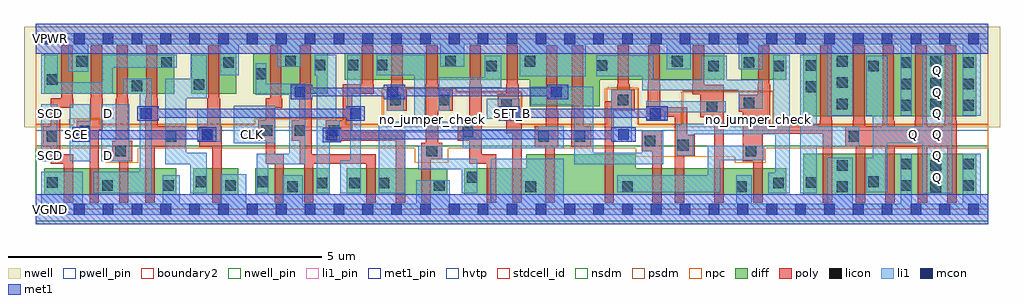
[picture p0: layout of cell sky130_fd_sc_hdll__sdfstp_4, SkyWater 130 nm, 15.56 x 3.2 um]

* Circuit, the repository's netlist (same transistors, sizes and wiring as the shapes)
* Copyright 2020 The SkyWater PDK Authors
*
* Licensed under the Apache License, Version 2.0 (the "License");
* you may not use this file except in compliance with the License.
* You may obtain a copy of the License at
*
*     https://www.apache.org/licenses/LICENSE-2.0
*
* Unless required by applicable law or agreed to in writing, software
* distributed under the License is distributed on an "AS IS" BASIS,
* WITHOUT WARRANTIES OR CONDITIONS OF ANY KIND, either express or implied.
* See the License for the specific language governing permissions and
* limitations under the License.
*
* SPDX-License-Identifier: Apache-2.0

.SUBCKT sky130_fd_sc_hdll__sdfstp_4 CLK D SCD SCE SET_B VGND VNB VPB VPWR Q
*.PININFO CLK:I D:I SCD:I SCE:I SET_B:I VGND:I VNB:I VPB:I VPWR:I Q:O
MI645 sceb SCE VPWR VPB sky130_fd_pr__pfet_01v8_hvt m=1 w=0.64U l=0.18U mult=1
+ sa=0.265 sb=0.265 sd=0.28 area=0.063 perim=1.14
MI658 M1 M0 VPWR VPB sky130_fd_pr__pfet_01v8_hvt m=1 w=0.42U l=0.18U mult=1 sa=0.265
+ sb=0.265 sd=0.28 area=0.063 perim=1.14
MI47 clkpos clkneg VPWR VPB sky130_fd_pr__pfet_01v8_hvt m=1 w=0.64U l=0.18U mult=1
+ sa=0.265 sb=0.265 sd=0.28 area=0.063 perim=1.14
MI663 net165 S0 VPWR VPB sky130_fd_pr__pfet_01v8_hvt m=1 w=1.0U l=0.18U mult=1
+ sa=0.265 sb=0.265 sd=0.28 area=0.063 perim=1.14
MI660 Q net165 VPWR VPB sky130_fd_pr__pfet_01v8_hvt m=4 w=1.0U l=0.18U mult=1 sa=0.265
+ sb=0.265 sd=0.28 area=0.063 perim=1.14
MI659 M1 SET_B VPWR VPB sky130_fd_pr__pfet_01v8_hvt m=1 w=0.42U l=0.18U mult=1
+ sa=0.265 sb=0.265 sd=0.28 area=0.063 perim=1.14
MI662 net109 M1 VPWR VPB sky130_fd_pr__pfet_01v8_hvt m=1 w=0.42U l=0.18U mult=1
+ sa=0.265 sb=0.265 sd=0.28 area=0.063 perim=1.14
MI664 M0 clkneg net109 VPB sky130_fd_pr__pfet_01v8_hvt m=1 w=0.42U l=0.18U mult=1
+ sa=0.265 sb=0.265 sd=0.28 area=0.063 perim=1.14
MI6 net96 S1 VPWR VPB sky130_fd_pr__pfet_01v8_hvt m=1 w=0.42U l=0.18U mult=1 sa=0.265
+ sb=0.265 sd=0.28 area=0.063 perim=1.14
MI669 S0 clkpos net96 VPB sky130_fd_pr__pfet_01v8_hvt m=1 w=0.42U l=0.18U mult=1
+ sa=0.265 sb=0.265 sd=0.28 area=0.063 perim=1.14
MI24 S0 SET_B VPWR VPB sky130_fd_pr__pfet_01v8_hvt m=1 w=0.42U l=0.18U mult=1 sa=0.265
+ sb=0.265 sd=0.28 area=0.063 perim=1.14
MI648 S1 S0 VPWR VPB sky130_fd_pr__pfet_01v8_hvt m=1 w=0.42U l=0.18U mult=1 sa=0.265
+ sb=0.265 sd=0.28 area=0.063 perim=1.14
MI38 S0 clkneg net84 VPB sky130_fd_pr__pfet_01v8_hvt m=1 w=0.84U l=0.18U mult=1
+ sa=0.265 sb=0.265 sd=0.28 area=0.063 perim=1.14
MI37 net84 M0 VPWR VPB sky130_fd_pr__pfet_01v8_hvt m=1 w=0.84U l=0.18U mult=1 sa=0.265
+ sb=0.265 sd=0.28 area=0.063 perim=1.14
MI43 db clkpos M0 VPB sky130_fd_pr__pfet_01v8_hvt m=1 w=0.42U l=0.18U mult=1 sa=0.265
+ sb=0.265 sd=0.28 area=0.063 perim=1.14
MI45 clkneg CLK VPWR VPB sky130_fd_pr__pfet_01v8_hvt m=1 w=0.64U l=0.18U mult=1
+ sa=0.265 sb=0.265 sd=0.28 area=0.063 perim=1.14
MI101 db sceb p1 VPB sky130_fd_pr__pfet_01v8_hvt m=1 w=0.64U l=0.18U mult=1 sa=0.265
+ sb=0.265 sd=0.28 area=0.063 perim=1.14
MI107 p0 SCE VPWR VPB sky130_fd_pr__pfet_01v8_hvt m=1 w=0.64U l=0.18U mult=1 sa=0.265
+ sb=0.265 sd=0.28 area=0.063 perim=1.14
MI94 db D p0 VPB sky130_fd_pr__pfet_01v8_hvt m=1 w=0.64U l=0.18U mult=1 sa=0.265
+ sb=0.265 sd=0.28 area=0.063 perim=1.14
MI108 p1 SCD VPWR VPB sky130_fd_pr__pfet_01v8_hvt m=1 w=0.64U l=0.18U mult=1 sa=0.265
+ sb=0.265 sd=0.28 area=0.063 perim=1.14
MI34 S0 clkpos net189 VNB sky130_fd_pr__nfet_01v8 m=1 w=0.64U l=0.15U mult=1 sa=0.265
+ sb=0.265 sd=0.28 area=0.063 perim=1.14
MI27 net209 S1 net157 VNB sky130_fd_pr__nfet_01v8 m=1 w=0.42U l=0.15U mult=1 sa=0.265
+ sb=0.265 sd=0.28 area=0.063 perim=1.14
MI647 S1 S0 VGND VNB sky130_fd_pr__nfet_01v8 m=1 w=0.42U l=0.15U mult=1 sa=0.265
+ sb=0.265 sd=0.28 area=0.063 perim=1.14
MI655 M0 clkpos net200 VNB sky130_fd_pr__nfet_01v8 m=1 w=0.42U l=0.15U mult=1 sa=0.265
+ sb=0.265 sd=0.28 area=0.063 perim=1.14
MI656 M1 M0 net196 VNB sky130_fd_pr__nfet_01v8 m=1 w=0.42U l=0.15U mult=1 sa=0.265
+ sb=0.265 sd=0.28 area=0.063 perim=1.14
MI654 net200 M1 VGND VNB sky130_fd_pr__nfet_01v8 m=1 w=0.42U l=0.15U mult=1 sa=0.265
+ sb=0.265 sd=0.28 area=0.063 perim=1.14
MI36 net189 M0 VGND VNB sky130_fd_pr__nfet_01v8 m=1 w=0.64U l=0.15U mult=1 sa=0.265
+ sb=0.265 sd=0.28 area=0.063 perim=1.14
MI26 S0 clkneg net209 VNB sky130_fd_pr__nfet_01v8 m=1 w=0.42U l=0.15U mult=1 sa=0.265
+ sb=0.265 sd=0.28 area=0.063 perim=1.14
MI42 db clkneg M0 VNB sky130_fd_pr__nfet_01v8 m=1 w=0.42U l=0.15U mult=1 sa=0.265
+ sb=0.265 sd=0.28 area=0.063 perim=1.14
MI46 clkpos clkneg VGND VNB sky130_fd_pr__nfet_01v8 m=1 w=0.42U l=0.15U mult=1
+ sa=0.265 sb=0.265 sd=0.28 area=0.063 perim=1.14
MI44 clkneg CLK VGND VNB sky130_fd_pr__nfet_01v8 m=1 w=0.42U l=0.15U mult=1 sa=0.265
+ sb=0.265 sd=0.28 area=0.063 perim=1.14
MI657 net196 SET_B VGND VNB sky130_fd_pr__nfet_01v8 m=1 w=0.42U l=0.15U mult=1
+ sa=0.265 sb=0.265 sd=0.28 area=0.063 perim=1.14
MI652 net165 S0 VGND VNB sky130_fd_pr__nfet_01v8 m=1 w=0.65U l=0.15U mult=1 sa=0.265
+ sb=0.265 sd=0.28 area=0.063 perim=1.14
MI644 sceb SCE VGND VNB sky130_fd_pr__nfet_01v8 m=1 w=0.42U l=0.15U mult=1 sa=0.265
+ sb=0.265 sd=0.28 area=0.063 perim=1.14
MI25 net157 SET_B VGND VNB sky130_fd_pr__nfet_01v8 m=1 w=0.42U l=0.15U mult=1 sa=0.265
+ sb=0.265 sd=0.28 area=0.063 perim=1.14
MI653 Q net165 VGND VNB sky130_fd_pr__nfet_01v8 m=4 w=0.65U l=0.15U mult=1 sa=0.265
+ sb=0.265 sd=0.28 area=0.063 perim=1.14
MI98 db D n0 VNB sky130_fd_pr__nfet_01v8 m=1 w=0.42U l=0.15U mult=1 sa=0.265 sb=0.265
+ sd=0.28 area=0.525 perim=3.1
MI103 n1 SCD VGND VNB sky130_fd_pr__nfet_01v8 m=1 w=0.42U l=0.15U mult=1 sa=0.265
+ sb=0.265 sd=0.28 area=0.525 perim=3.1
MI120 db SCE n1 VNB sky130_fd_pr__nfet_01v8 m=1 w=0.42U l=0.15U mult=1 sa=0.265
+ sb=0.265 sd=0.28 area=0.525 perim=3.1
MI104 n0 sceb VGND VNB sky130_fd_pr__nfet_01v8 m=1 w=0.42U l=0.15U mult=1 sa=0.265
+ sb=0.265 sd=0.28 area=0.525 perim=3.1
.ENDS sky130_fd_sc_hdll__sdfstp_4

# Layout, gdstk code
import gdstk
lib = gdstk.Library(unit=1e-6, precision=1e-09)
def R(c, l, rs):  # rectangles x0, y0, x1, y1
    for r in rs: c.add(gdstk.rectangle(r[:2], r[2:], *l))
def A(c, l, x, y, w, h, nx, ny, dx, dy):  # array of equal rectangles
    R(c, l, [(x+i*dx, y+j*dy, x+i*dx+w, y+j*dy+h) for i in range(nx) for j in range(ny)])
def P(c, l, *ps):  # polygons
    for p in ps: c.add(gdstk.Polygon(p, *l))
nwell_pin = (64, 16)
nwell = (64, 20)
diff = (65, 20)
poly = (66, 20)
licon = (66, 44)
li1_pin = (67, 16)
li1 = (67, 20)
mcon = (67, 44)
met1_pin = (68, 16)
met1 = (68, 20)
hvtp = (78, 44)
stdcell_id = (81, 4)
nsdm = (93, 44)
psdm = (94, 20)
npc = (95, 20)
pwell_pin = (122, 16)
boundary2 = (236, 0)

sky130_fd_sc_hdll__sdfst = lib.new_cell('sky130_fd_sc_hdll__sdfstp_4')
R(sky130_fd_sc_hdll__sdfst, nwell_pin, [(0.145,2.635,0.315,2.805)])
R(sky130_fd_sc_hdll__sdfst, nwell, [(-0.19,1.305,15.37,2.91)])
R(sky130_fd_sc_hdll__sdfst, diff, [(0.135,0.235,2.235,0.655), (2.505,0.235,3.225,0.655), (3.495,0.235,4.685,0.655), (4.955,0.235,6.555,0.655), (12.235,0.235,14.99,0.885), (12.235,1.485,14.99,2.485), (0.135,1.845,2.205,2.485), (2.475,1.845,3.195,2.485), (3.465,1.845,4.655,2.485), (11.245,2.065,11.965,2.485)])
P(sky130_fd_sc_hdll__sdfst, diff, [(11.965,0.655),(9.565,0.655),(9.565,0.875),(7.82,0.875),(7.82,0.655),(6.825,0.655),(6.825,0.235),(11.965,0.235)],
  [(10.975,2.485),(4.925,2.485),(4.925,2.065),(7.875,2.065),(7.875,1.645),(8.985,1.645),(8.985,2.065),(10.975,2.065)])
P(sky130_fd_sc_hdll__sdfst, poly, [(0.595,1.77),(0.585,1.77),(0.585,2.615),(0.405,2.615),(0.405,1.77),(0.24,1.77),(0.24,1.325),(0.105,1.325),(0.105,0.995),(0.24,0.995),(0.24,0.73),(0.445,0.73),(0.445,0.105),(0.595,0.105),(0.595,0.88),(0.39,0.88),(0.39,1.62),(0.595,1.62)],
  [(1.065,1.77),(1.055,1.77),(1.055,2.615),(0.875,2.615),(0.875,1.77),(0.865,1.77),(0.865,1.415),(0.65,1.415),(0.65,1.085),(0.855,1.085),(0.855,0.105),(1.005,0.105),(1.005,1.265),(1.065,1.265)],
  [(1.535,1.095),(1.475,1.095),(1.475,1.77),(1.465,1.77),(1.465,2.615),(1.285,2.615),(1.285,1.77),(1.275,1.77),(1.275,1.095),(1.215,1.095),(1.215,0.765),(1.325,0.765),(1.325,0.105),(1.475,0.105),(1.475,0.765),(1.535,0.765)],
  [(2.39,1.325),(1.945,1.325),(1.945,1.77),(1.935,1.77),(1.935,2.615),(1.755,2.615),(1.755,1.77),(1.745,1.77),(1.745,0.105),(1.895,0.105),(1.895,0.995),(2.39,0.995)],
  [(2.965,1.325),(2.935,1.325),(2.935,1.77),(2.925,1.77),(2.925,2.615),(2.745,2.615),(2.745,1.77),(2.735,1.77),(2.735,1.325),(2.6,1.325),(2.6,0.995),(2.815,0.995),(2.815,0.105),(2.965,0.105)],
  [(3.955,0.88),(3.815,0.88),(3.815,1.62),(3.925,1.62),(3.925,1.77),(3.915,1.77),(3.915,2.615),(3.735,2.615),(3.735,1.77),(3.665,1.77),(3.665,1.42),(3.545,1.42),(3.545,1.09),(3.665,1.09),(3.665,0.73),(3.805,0.73),(3.805,0.105),(3.955,0.105)],
  [(5.415,0.88),(4.395,0.88),(4.395,1.77),(4.385,1.77),(4.385,2.615),(4.205,2.615),(4.205,1.77),(4.195,1.77),(4.195,1.42),(4.075,1.42),(4.075,1.09),(4.21,1.09),(4.21,0.73),(4.275,0.73),(4.275,0.105),(4.425,0.105),(4.425,0.73),(5.265,0.73),(5.265,0.105),(5.415,0.105)],
  [(5.885,1.24),(5.04,1.24),(5.04,1.84),(5.385,1.84),(5.385,1.99),(5.375,1.99),(5.375,2.615),(5.195,2.615),(5.195,1.99),(4.89,1.99),(4.89,1.42),(4.62,1.42),(4.62,1.09),(5.735,1.09),(5.735,0.105),(5.885,0.105)],
  [(5.915,1.905),(5.855,1.905),(5.855,1.99),(5.845,1.99),(5.845,2.615),(5.665,2.615),(5.665,1.99),(5.655,1.99),(5.655,1.905),(5.595,1.905),(5.595,1.575),(5.915,1.575)],
  [(6.645,1.905),(6.415,1.905),(6.415,1.99),(6.405,1.99),(6.405,2.615),(6.225,2.615),(6.225,1.99),(6.215,1.99),(6.215,1.065),(6.145,1.065),(6.145,0.105),(6.295,0.105),(6.295,0.795),(6.475,0.795),(6.475,1.065),(6.415,1.065),(6.415,1.575),(6.645,1.575)],
  [(7.335,0.88),(7.105,0.88),(7.105,1.99),(7.095,1.99),(7.095,2.615),(6.915,2.615),(6.915,1.99),(6.905,1.99),(6.905,1.365),(6.725,1.365),(6.725,1.095),(6.905,1.095),(6.905,0.73),(7.185,0.73),(7.185,0.105),(7.335,0.105)],
  [(7.745,1.365),(7.695,1.365),(7.695,1.99),(7.685,1.99),(7.685,2.615),(7.505,2.615),(7.505,1.99),(7.495,1.99),(7.495,1.845),(7.365,1.845),(7.365,1.515),(7.495,1.515),(7.495,1.215),(7.595,1.215),(7.595,0.105),(7.745,0.105)],
  [(8.325,1.57),(8.315,1.57),(8.315,2.615),(8.135,2.615),(8.135,1.57),(8.125,1.57),(8.125,1.325),(7.955,1.325),(7.955,0.995),(8.12,0.995),(8.12,0.105),(8.27,0.105),(8.27,0.995),(8.325,0.995)],
  [(8.855,1.325),(8.735,1.325),(8.735,1.57),(8.725,1.57),(8.725,2.615),(8.545,2.615),(8.545,1.57),(8.535,1.57),(8.535,0.995),(8.855,0.995)],
  [(9.545,1.905),(9.465,1.905),(9.465,1.99),(9.455,1.99),(9.455,2.615),(9.275,2.615),(9.275,1.99),(9.265,1.99),(9.265,1.905),(9.175,1.905),(9.175,1.725),(9.065,1.725),(9.065,0.105),(9.215,0.105),(9.215,1.575),(9.545,1.575)],
  [(9.975,1.255),(9.655,1.255),(9.655,0.925),(9.825,0.925),(9.825,0.105),(9.975,0.105)],
  [(10.505,1.185),(10.385,1.185),(10.385,1.625),(9.955,1.625),(9.955,1.99),(9.945,1.99),(9.945,2.615),(9.765,2.615),(9.765,1.99),(9.755,1.99),(9.755,1.475),(10.185,1.475),(10.185,0.105),(10.335,0.105),(10.335,0.855),(10.505,0.855)],
  [(10.965,1.985),(10.665,1.985),(10.665,1.99),(10.655,1.99),(10.655,2.615),(10.475,2.615),(10.475,1.99),(10.465,1.99),(10.465,1.835),(10.595,1.835),(10.595,1.465),(10.815,1.465),(10.815,0.105),(10.965,0.105)],
  [(12.695,1.41),(12.685,1.41),(12.685,2.615),(12.505,2.615),(12.505,1.41),(12.495,1.41),(12.495,1.355),(11.705,1.355),(11.705,1.99),(11.695,1.99),(11.695,2.615),(11.515,2.615),(11.515,1.99),(11.505,1.99),(11.505,1.825),(11.205,1.825),(11.205,1.555),(11.265,1.555),(11.265,0.765),(11.435,0.765),(11.435,0.105),(11.585,0.105),(11.585,1.205),(12.545,1.205),(12.545,0.105),(12.695,0.105)],
  [(14.68,1.41),(14.67,1.41),(14.67,2.615),(14.49,2.615),(14.49,1.41),(14.48,1.41),(14.48,1.325),(14.21,1.325),(14.21,1.41),(14.2,1.41),(14.2,2.615),(14.02,2.615),(14.02,1.41),(14.01,1.41),(14.01,1.325),(13.69,1.325),(13.69,1.41),(13.68,1.41),(13.68,2.615),(13.5,2.615),(13.5,1.41),(13.49,1.41),(13.49,1.325),(13.22,1.325),(13.22,1.41),(13.21,1.41),(13.21,2.615),(13.03,2.615),(13.03,1.41),(13.02,1.41),(13.02,1.325),(12.905,1.325),(12.905,0.995),(13.07,0.995),(13.07,0.105),(13.22,0.105),(13.22,0.995),(13.54,0.995),(13.54,0.105),(13.69,0.105),(13.69,0.995),(14.06,0.995),(14.06,0.105),(14.21,0.105),(14.21,0.995),(14.53,0.995),(14.53,0.105),(14.68,0.105)])
A(sky130_fd_sc_hdll__sdfst, licon, 13.79, 1.575, 0.17, 0.17, 1, 3, 0, 0.34)
A(sky130_fd_sc_hdll__sdfst, licon, 14.78, 1.575, 0.17, 0.17, 1, 3, 0, 0.34)
A(sky130_fd_sc_hdll__sdfst, licon, 14.26, 1.59, 0.17, 0.17, 1, 3, 0, 0.34)
A(sky130_fd_sc_hdll__sdfst, licon, 12.77, 1.595, 0.17, 0.17, 1, 3, 0, 0.34)
R(sky130_fd_sc_hdll__sdfst, licon, [(4.005,0.275,4.175,0.445), (7.805,0.275,7.975,0.445), (9.345,0.275,9.515,0.445), (11.165,0.275,11.335,0.445), (12.77,0.275,12.94,0.445), (14.26,0.275,14.43,0.445), (1.055,0.295,1.225,0.465), (2.025,0.295,2.195,0.465), (3.015,0.295,3.185,0.465), (6.345,0.295,6.515,0.465), (13.79,0.295,13.96,0.465), (14.78,0.295,14.95,0.465), (4.475,0.335,4.645,0.505), (4.995,0.335,5.165,0.505), (5.465,0.335,5.635,0.505), (11.755,0.335,11.925,0.505), (12.275,0.34,12.445,0.51), (0.175,0.345,0.345,0.515), (2.545,0.355,2.715,0.525), (3.535,0.355,3.705,0.525), (13.27,0.355,13.44,0.525), (6.865,0.425,7.035,0.595), (12.77,0.615,12.94,0.785), (14.26,0.615,14.43,0.785), (13.79,0.635,13.96,0.805), (14.78,0.635,14.95,0.805), (1.265,0.845,1.435,1.015), (6.225,0.845,6.395,1.015), (11.315,0.845,11.485,1.015), (10.235,0.935,10.405,1.105), (9.705,1.005,9.875,1.175), (0.17,1.075,0.34,1.245), (2.065,1.075,2.235,1.245), (2.65,1.075,2.82,1.245), (8.005,1.075,8.175,1.245), (8.585,1.075,8.755,1.245), (12.955,1.075,13.125,1.245), (6.805,1.145,6.975,1.315), (0.7,1.165,0.87,1.335), (3.595,1.17,3.765,1.34), (4.125,1.17,4.295,1.34), (4.67,1.17,4.84,1.34), (10.695,1.545,10.865,1.715), (7.415,1.595,7.585,1.765), (11.285,1.605,11.455,1.775), (5.645,1.655,5.815,1.825), (6.425,1.655,6.595,1.825), (9.275,1.655,9.445,1.825), (12.275,1.87,12.445,2.04), (1.525,1.885,1.695,2.055), (2.515,1.905,2.685,2.075), (0.175,1.985,0.345,2.155), (3.505,2.075,3.675,2.245), (7.18,2.2,7.35,2.37), (10.715,2.2,10.885,2.37), (11.755,2.2,11.925,2.37), (13.27,2.2,13.44,2.37), (8.935,2.205,9.105,2.375), (12.275,2.21,12.445,2.38), (4.445,2.215,4.615,2.385), (4.965,2.215,5.135,2.385), (5.435,2.215,5.605,2.385), (1.995,2.255,2.165,2.425), (2.985,2.255,3.155,2.425), (11.285,2.255,11.455,2.425), (0.645,2.275,0.815,2.445), (3.975,2.275,4.145,2.445), (6.525,2.275,6.695,2.445), (7.79,2.275,7.96,2.445), (10.14,2.275,10.31,2.445)])
A(sky130_fd_sc_hdll__sdfst, li1_pin, 14.275, 0.425, 0.17, 0.17, 1, 6, 0, 0.34)
R(sky130_fd_sc_hdll__sdfst, li1_pin, [(0.145,0.765,0.315,0.935), (1.065,0.765,1.235,0.935), (3.365,1.105,3.535,1.275), (13.91,1.105,14.08,1.275), (0.145,1.445,0.315,1.615), (1.065,1.445,1.235,1.615)])
R(sky130_fd_sc_hdll__sdfst, li1, [(0.085,0.765,0.34,1.675), (0.54,0.765,0.87,1.675), (1.04,0.765,1.485,1.675), (3.155,1.055,3.815,1.65), (2.57,1.075,2.95,1.6), (9.175,1.075,9.5,1.905), (7.19,1.445,7.715,1.765), (5.605,1.575,5.865,1.955)])
P(sky130_fd_sc_hdll__sdfst, li1, [(1.845,2.085),(1.395,2.085),(1.395,1.845),(1.655,1.845),(1.655,0.595),(0.92,0.595),(0.92,0.255),(1.845,0.255)],
  [(2.245,2.465),(1.055,2.465),(1.055,2.025),(0.345,2.025),(0.345,2.465),(0.085,2.465),(0.085,1.845),(1.225,1.845),(1.225,2.255),(2.245,2.255)],
  [(2.72,0.905),(2.4,0.905),(2.4,1.77),(2.72,1.77),(2.72,2.465),(2.47,2.465),(2.47,2.085),(2.065,2.085),(2.065,0.715),(2.46,0.715),(2.46,0.255),(2.72,0.255)],
  [(4.295,2),(3.675,2),(3.675,2.325),(3.505,2.325),(3.505,1.83),(4.035,1.83),(4.035,0.885),(3.52,0.885),(3.52,0.255),(3.705,0.255),(3.705,0.715),(4.295,0.715)],
  [(4.84,1.42),(4.79,1.42),(4.79,2.465),(4.445,2.465),(4.445,2.135),(4.475,2.135),(4.475,0.255),(4.685,0.255),(4.685,1.085),(4.84,1.085)],
  [(5.18,2.465),(4.965,2.465),(4.965,1.59),(5.01,1.59),(5.01,0.78),(4.855,0.78),(4.855,0.255),(5.18,0.255)],
  [(7.035,0.805),(6.475,0.805),(6.475,1.015),(6.095,1.015),(6.095,0.635),(6.785,0.635),(6.785,0.255),(7.035,0.255)],
  [(7.42,2.45),(7.155,2.45),(7.155,2.105),(6.425,2.105),(6.425,1.575),(6.595,1.575),(6.595,1.935),(7.42,1.935)],
  [(15.18,2.805),(0,2.805),(0,2.635),(0.515,2.635),(0.515,2.195),(0.835,2.195),(0.835,2.635),(2.94,2.635),(2.94,2.14),(3.235,2.14),(3.235,2.635),(3.845,2.635),(3.845,2.275),(4.225,2.275),(4.225,2.635),(6.445,2.635),(6.445,2.275),(6.83,2.275),(6.83,2.635),(7.71,2.635),(7.71,2.125),(8.765,2.125),(8.765,2.635),(10.06,2.635),(10.06,2.235),(10.44,2.235),(10.44,2.635),(11.205,2.635),(11.205,2.235),(11.585,2.235),(11.585,2.635),(12.615,2.635),(12.615,1.495),(13.02,1.495),(13.02,2.635),(13.79,2.635),(13.79,1.495),(13.96,1.495),(13.96,2.635),(14.78,2.635),(14.78,1.495),(15.065,1.495),(15.065,2.635),(15.18,2.635)],
  [(15.18,0.085),(15.065,0.085),(15.065,0.885),(14.78,0.885),(14.78,0.085),(13.96,0.085),(13.96,0.885),(13.79,0.885),(13.79,0.085),(13.02,0.085),(13.02,0.825),(12.615,0.825),(12.615,0.085),(11.415,0.085),(11.415,0.545),(11.165,0.545),(11.165,0.085),(8.415,0.085),(8.415,0.805),(7.255,0.805),(7.255,0.085),(6.595,0.085),(6.595,0.465),(6.06,0.465),(6.06,0.085),(4.255,0.085),(4.255,0.545),(3.925,0.545),(3.925,0.085),(3.35,0.085),(3.35,0.555),(2.94,0.555),(2.94,0.085),(2.29,0.085),(2.29,0.545),(2.025,0.545),(2.025,0.085),(0.75,0.085),(0.75,0.595),(0.085,0.595),(0.085,0.085),(0,0.085),(0,-0.085),(15.18,-0.085)],
  [(8.415,1.325),(8.005,1.325),(8.005,1.275),(6.975,1.275),(6.975,1.395),(6.205,1.395),(6.205,2.465),(5.435,2.465),(5.435,2.135),(6.035,2.135),(6.035,1.395),(5.465,1.395),(5.465,0.255),(5.89,0.255),(5.89,1.225),(6.805,1.225),(6.805,0.975),(8.415,0.975)],
  [(10.005,1.255),(9.67,1.255),(9.67,0.905),(8.885,0.905),(8.885,1.955),(7.885,1.955),(7.885,1.67),(8.585,1.67),(8.585,0.72),(10.005,0.72)],
  [(10.995,1.725),(9.73,1.725),(9.73,1.425),(10.035,1.425),(10.035,1.545),(10.995,1.545)],
  [(11.585,2.065),(11.015,2.065),(11.015,2.45),(10.61,2.45),(10.61,2.065),(9.84,2.065),(9.84,2.46),(8.935,2.46),(8.935,2.125),(9.67,2.125),(9.67,1.895),(11.205,1.895),(11.205,1.605),(11.585,1.605)],
  [(11.615,1.015),(10.71,1.015),(10.71,0.545),(9.265,0.545),(9.265,0.275),(10.91,0.275),(10.91,0.785),(11.615,0.785)],
  [(12.015,2.465),(11.755,2.465),(11.755,1.365),(10.22,1.365),(10.22,0.855),(10.48,0.855),(10.48,1.195),(11.785,1.195),(11.785,0.585),(11.675,0.585),(11.675,0.255),(12.015,0.255)],
  [(14.61,2.465),(14.13,2.465),(14.13,1.325),(13.57,1.325),(13.57,2.45),(13.24,2.45),(13.24,1.495),(13.345,1.495),(13.345,0.825),(13.24,0.825),(13.24,0.275),(13.57,0.275),(13.57,1.055),(14.13,1.055),(14.13,0.255),(14.61,0.255)],
  [(13.125,1.325),(12.445,1.325),(12.445,2.465),(12.185,2.465),(12.185,0.255),(12.445,0.255),(12.445,0.995),(13.125,0.995)])
A(sky130_fd_sc_hdll__sdfst, mcon, 0.145, -0.085, 0.17, 0.17, 33, 2, 0.46, 2.72)
R(sky130_fd_sc_hdll__sdfst, mcon, [(4.635,1.1,4.805,1.27), (0.64,1.105,0.81,1.275), (2.645,1.105,2.815,1.275), (9.28,1.105,9.45,1.275), (1.675,1.445,1.845,1.615), (5.01,1.445,5.18,1.615), (7.435,1.445,7.605,1.615), (9.79,1.445,9.96,1.615), (4.125,1.785,4.295,1.955), (5.605,1.785,5.775,1.955), (8.21,1.785,8.38,1.955)])
R(sky130_fd_sc_hdll__sdfst, met1_pin, [(0.145,-0.085,0.315,0.085), (0.605,1.105,0.775,1.275), (7.505,1.445,7.675,1.615), (0.145,2.635,0.315,2.805)])
R(sky130_fd_sc_hdll__sdfst, met1, [(0,-0.24,15.18,0.24), (0,2.48,15.18,2.96)])
P(sky130_fd_sc_hdll__sdfst, met1, [(2.875,1.305),(2.585,1.305),(2.585,1.26),(0.87,1.26),(0.87,1.305),(0.58,1.305),(0.58,1.075),(0.87,1.075),(0.87,1.12),(2.585,1.12),(2.585,1.075),(2.875,1.075)],
  [(5.24,1.645),(4.95,1.645),(4.95,1.6),(1.955,1.6),(1.955,1.645),(1.615,1.645),(1.615,1.415),(1.955,1.415),(1.955,1.46),(4.95,1.46),(4.95,1.415),(5.24,1.415)],
  [(8.49,1.985),(8.15,1.985),(8.15,1.94),(5.885,1.94),(5.885,1.985),(5.545,1.985),(5.545,1.94),(4.405,1.94),(4.405,1.985),(4.065,1.985),(4.065,1.755),(4.405,1.755),(4.405,1.8),(5.545,1.8),(5.545,1.755),(5.885,1.755),(5.885,1.8),(8.15,1.8),(8.15,1.755),(8.49,1.755)],
  [(9.56,1.305),(9.17,1.305),(9.17,1.26),(4.865,1.26),(4.865,1.3),(4.575,1.3),(4.575,1.07),(4.865,1.07),(4.865,1.12),(9.17,1.12),(9.17,1.075),(9.56,1.075)],
  [(10.07,1.645),(9.73,1.645),(9.73,1.6),(7.715,1.6),(7.715,1.645),(7.375,1.645),(7.375,1.415),(7.715,1.415),(7.715,1.46),(9.73,1.46),(9.73,1.415),(10.07,1.415)])
R(sky130_fd_sc_hdll__sdfst, hvtp, [(0,1.25,15.18,2.72)])
R(sky130_fd_sc_hdll__sdfst, stdcell_id, [(0,0,15.18,2.72)])
R(sky130_fd_sc_hdll__sdfst, nsdm, [(0,-0.19,15.18,1.015)])
P(sky130_fd_sc_hdll__sdfst, psdm, [(15.18,2.91),(0,2.91),(0,1.355),(0.54,1.355),(0.54,1.445),(1.03,1.445),(1.03,1.355),(3.485,1.355),(3.485,1.45),(4.95,1.45),(4.95,1.355),(5.525,1.355),(5.525,1.935),(6.7,1.935),(6.7,1.875),(7.745,1.875),(7.745,1.355),(9.11,1.355),(9.11,1.935),(9.605,1.935),(9.605,1.355),(10.3,1.355),(10.3,1.885),(11.755,1.885),(11.755,1.355),(15.18,1.355)])
P(sky130_fd_sc_hdll__sdfst, npc, [(15.18,1.345),(11.745,1.345),(11.745,1.875),(10.31,1.875),(10.31,1.345),(9.595,1.345),(9.595,1.925),(9.07,1.925),(9.07,1.345),(7.735,1.345),(7.735,1.865),(6.69,1.865),(6.69,1.925),(5.535,1.925),(5.535,1.345),(4.94,1.345),(4.94,1.44),(3.495,1.44),(3.495,1.345),(1.02,1.345),(1.02,1.435),(0.6,1.435),(0.6,1.345),(0,1.345),(0,0.975),(1.115,0.975),(1.115,0.745),(1.635,0.745),(1.635,0.975),(6.04,0.975),(6.04,0.745),(6.575,0.745),(6.575,0.975),(9.56,0.975),(9.56,0.835),(11.14,0.835),(11.14,0.745),(11.635,0.745),(11.635,0.975),(15.18,0.975)])
R(sky130_fd_sc_hdll__sdfst, pwell_pin, [(0.145,-0.085,0.315,0.085)])
R(sky130_fd_sc_hdll__sdfst, boundary2, [(0,0,15.18,2.72)])
sky130_fd_sc_hdll__sdfst.add(gdstk.Label('CLK', (3.45,1.19), layer=67, texttype=5))
sky130_fd_sc_hdll__sdfst.add(gdstk.Label('D', (1.15,0.85), layer=67, texttype=5))
sky130_fd_sc_hdll__sdfst.add(gdstk.Label('SCD', (0.23,1.53), layer=67, texttype=5))
sky130_fd_sc_hdll__sdfst.add(gdstk.Label('D', (1.15,1.53), layer=67, texttype=5))
sky130_fd_sc_hdll__sdfst.add(gdstk.Label('SCD', (0.23,0.85), layer=67, texttype=5))
sky130_fd_sc_hdll__sdfst.add(gdstk.Label('Q', (13.99,1.19), layer=67, texttype=5))
sky130_fd_sc_hdll__sdfst.add(gdstk.Label('Q', (14.37,1.87), layer=67, texttype=5))
sky130_fd_sc_hdll__sdfst.add(gdstk.Label('Q', (14.37,2.21), layer=67, texttype=5))
sky130_fd_sc_hdll__sdfst.add(gdstk.Label('Q', (14.37,1.19), layer=67, texttype=5))
sky130_fd_sc_hdll__sdfst.add(gdstk.Label('Q', (14.37,0.85), layer=67, texttype=5))
sky130_fd_sc_hdll__sdfst.add(gdstk.Label('Q', (14.37,0.51), layer=67, texttype=5))
sky130_fd_sc_hdll__sdfst.add(gdstk.Label('Q', (14.37,1.53), layer=67, texttype=5))
sky130_fd_sc_hdll__sdfst.add(gdstk.Label('SCE', (0.64,1.19), layer=68, texttype=5))
sky130_fd_sc_hdll__sdfst.add(gdstk.Label('SET_B', (7.59,1.53), layer=68, texttype=5))
sky130_fd_sc_hdll__sdfst.add(gdstk.Label('VPWR', (0.23,2.72), layer=68, texttype=5))
sky130_fd_sc_hdll__sdfst.add(gdstk.Label('VGND', (0.23,0), layer=68, texttype=5))
sky130_fd_sc_hdll__sdfst.add(gdstk.Label('VPB', (0.23,2.72), layer=64, texttype=5))
sky130_fd_sc_hdll__sdfst.add(gdstk.Label('VNB', (0.23,0), layer=64, texttype=59))
sky130_fd_sc_hdll__sdfst.add(gdstk.Label('no_jumper_check', (6.33,1.43), layer=83, texttype=44))
sky130_fd_sc_hdll__sdfst.add(gdstk.Label('sdfstp_4', (0,0), layer=83, texttype=44))
sky130_fd_sc_hdll__sdfst.add(gdstk.Label('no_jumper_check', (11.515,1.435), layer=83, texttype=44))

lib.write_gds('sky130_fd_sc_hdll__sdfstp_4.gds')
